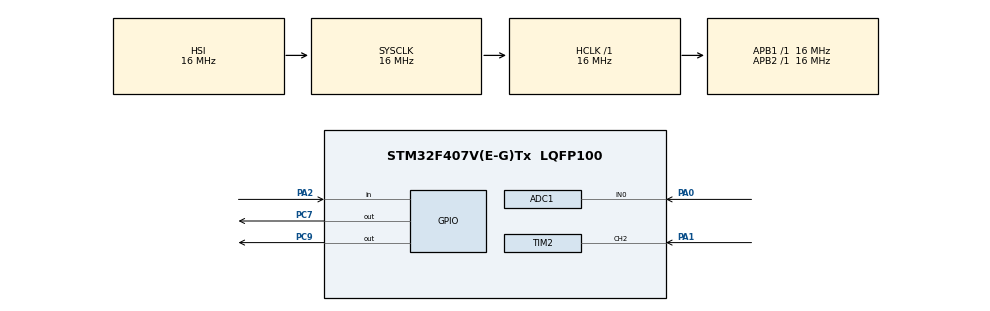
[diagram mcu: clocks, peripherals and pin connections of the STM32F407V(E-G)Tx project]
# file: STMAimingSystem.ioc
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ADC1.Channel-4\#ChannelRegularConversion=ADC_CHANNEL_0
ADC1.NbrOfConversionFlag=1
ADC1.Rank-4\#ChannelRegularConversion=1
ADC1.SamplingTime-4\#ChannelRegularConversion=ADC_SAMPLETIME_3CYCLES
ADC1.master=1
Mcu.Family=STM32F4
Mcu.Name=STM32F407V(E-G)Tx
Mcu.Package=LQFP100
NVIC.PriorityGroup=NVIC_PRIORITYGROUP_4
PA0-WKUP.Signal=ADCx_IN0
PA1.Signal=S_TIM2_CH2
PA2.Signal=GPIO_Input
PC7.Signal=GPIO_Output
PC9.Signal=GPIO_Output
ProjectManager.HeapSize=0x200
ProjectManager.StackSize=0x400
ProjectManager.TargetToolchain=STM32CubeIDE
RCC.AHBFreq_Value=16000000
RCC.APB1Freq_Value=16000000
RCC.APB2Freq_Value=16000000
RCC.CortexFreq_Value=16000000
RCC.HSE_VALUE=25000000
RCC.HSI_VALUE=16000000
RCC.LSE_VALUE=32768
RCC.SYSCLKFreq_VALUE=16000000
RCC.VCOOutputFreq_Value=192000000
SH.ADCx_IN0.0=ADC1_IN0,IN0
SH.S_TIM2_CH2.0=TIM2_CH2,Input_Capture2_from_TI2
TIM2.Channel-Input_Capture2_from_TI2=TIM_CHANNEL_2
TIM2.Period=0xffff-1
TIM2.Prescaler=100-1
VP_TIM1_VS_ClockSourceINT.Mode=Internal
VP_TIM2_VS_ClockSourceINT.Mode=Internal
board=custom

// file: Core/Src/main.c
/* USER CODE BEGIN Header */
/**
  ******************************************************************************
  * @file           : main.c
  * @brief          : Main program body
  ******************************************************************************
  * @attention
  *
  * Copyright (c) 2024 STMicroelectronics.
  * All rights reserved.
  *
  * This software is licensed under terms that can be found in the LICENSE file
  * in the root directory of this software component.
  * If no LICENSE file comes with this software, it is provided AS-IS.
  *
  ******************************************************************************
  */
/* USER CODE END Header */
#include "main.h"

/* USER CODE BEGIN PD */
	#define SERVO_1 GPIOC
	#define SERVO1_PIN1 GPIO_PIN_7
	#define SERVO1_PIN2 GPIO_PIN_9
/* USER CODE END PD */

ADC_HandleTypeDef hadc1;

TIM_HandleTypeDef htim1;
TIM_HandleTypeDef htim2;

void SystemClock_Config(void);
static void MX_GPIO_Init(void);
static void MX_TIM2_Init(void);
static void MX_TIM1_Init(void);
static void MX_ADC1_Init(void);

/* USER CODE BEGIN 0 */
	int dir = 0;
	float Feedback_S1;
	uint32_t time;
	//Total resolution of Analog-Digital Converter
	const int ADCResolution = 4095;
	//Servomotor Range
	const int ServoRange = 360;

	void HAL_ADC_ConvCpltCallback(ADC_HandleTypeDef* hadc){
		if(hadc->Instance == ADC1){
			Feedback_S1=HAL_ADC_GetValue(&hadc1);
		}
	}

	float GetPosition(){
		return (Feedback_S1/ADCResolution)*ServoRange;
	}

	void MarchaDcha(int s){
		//
			__HAL_TIM_SET_COMPARE(&htim1, TIM_CHANNEL_1, s);
		// H Bridge control
			HAL_GPIO_WritePin(SERVO_1, SERVO1_PIN2,GPIO_PIN_SET);
			HAL_GPIO_WritePin(SERVO_1, SERVO1_PIN1,GPIO_PIN_RESET);
	}

	void MarchaIzqda(int s){
			__HAL_TIM_SET_COMPARE(&htim1, TIM_CHANNEL_1, s);
		// H Bridge control
			HAL_GPIO_WritePin(SERVO_1, SERVO1_PIN2,GPIO_PIN_RESET);
			HAL_GPIO_WritePin(SERVO_1, SERVO1_PIN1,GPIO_PIN_SET);
	}
	void Paro()
	{
		__HAL_TIM_SET_COMPARE(&htim1, TIM_CHANNEL_1, 0);
	// H Bridge control
		HAL_GPIO_WritePin(SERVO_1, SERVO1_PIN2,GPIO_PIN_RESET);
		HAL_GPIO_WritePin(SERVO_1, SERVO1_PIN1,GPIO_PIN_RESET);
	}

		//HCSR04 Code
	void delay (uint16_t time)
	{
		__HAL_TIM_SET_COUNTER(&htim2, 0);
		while (__HAL_TIM_GET_COUNTER (&htim2) < time);
	}

	uint32_t IC_Val1 = 0;
	uint32_t IC_Val2 = 0;
	uint32_t Difference = 0;
	uint8_t Is_First_Captured = 0;  // is the first value captured ?
	uint8_t Distance  = 0;

	void HAL_TIM_IC_CaptureCallback(TIM_HandleTypeDef *htim)
	{
		if (htim->Channel == HAL_TIM_ACTIVE_CHANNEL_2)  // if the interrupt source is channel1
		{
			if (Is_First_Captured==0) // if the first value is not captured
			{
				IC_Val1 = HAL_TIM_ReadCapturedValue(htim, TIM_CHANNEL_2); // read the first value
				Is_First_Captured = 1;  // set the first captured as true
				// Now change the polarity to falling edge
				__HAL_TIM_SET_CAPTUREPOLARITY(htim, TIM_CHANNEL_2, TIM_INPUTCHANNELPOLARITY_FALLING);
			}

			else if (Is_First_Captured==1)   // if the first is already captured
			{
				IC_Val2 = HAL_TIM_ReadCapturedValue(htim, TIM_CHANNEL_2);  // read second value
				__HAL_TIM_SET_COUNTER(htim, 0);  // reset the counter

				if (IC_Val2 > IC_Val1)
				{
					Difference = IC_Val2-IC_Val1;
				}

				else if (IC_Val1 > IC_Val2)
				{
					Difference = (0xffff - IC_Val1) + IC_Val2;
				}

				Distance = Difference * .034/2;
				//Distance = Difference;
				Is_First_Captured = 0; // set it back to false

				// set polarity to rising edge
				__HAL_TIM_SET_CAPTUREPOLARITY(htim, TIM_CHANNEL_2, TIM_INPUTCHANNELPOLARITY_RISING);
				__HAL_TIM_DISABLE_IT(&htim1, TIM_IT_CC1);
			}
		}
	}

	void HCSR04_Read (void)
	{
		HAL_GPIO_WritePin(GPIOA, GPIO_PIN_2, GPIO_PIN_SET); // pull the TRIG pin HIGH
		delay(10);  // wait for 10 us
		HAL_GPIO_WritePin(GPIOA, GPIO_PIN_2, GPIO_PIN_RESET);// pull the TRIG pin low

		__HAL_TIM_ENABLE_IT(&htim1, TIM_IT_CC1);
	}

/* USER CODE END 0 */

int main(void)
{

  /* MCU Configuration--------------------------------------------------------*/

  /* Reset of all peripherals, Initializes the Flash interface and the Systick. */
  HAL_Init();

  /* Configure the system clock */
  SystemClock_Config();

  /* Initialize all configured peripherals */
  MX_GPIO_Init();
  MX_TIM2_Init();
  MX_TIM1_Init();
  MX_ADC1_Init();
  /* USER CODE BEGIN 2 */
	  HAL_ADC_Start_IT(&hadc1);
	  HAL_TIM_PWM_Start(&htim1, TIM_CHANNEL_1);
  /* USER CODE END 2 */

  /* Infinite loop */
  while (1)
  {

    /* USER CODE BEGIN 3 */
	        HCSR04_Read();
	 	  	HAL_Delay(1000);
  }
  /* USER CODE END 3 */
}

void SystemClock_Config(void)
{
  RCC_OscInitTypeDef RCC_OscInitStruct = {0};
  RCC_ClkInitTypeDef RCC_ClkInitStruct = {0};

  /** Configure the main internal regulator output voltage
  */
  __HAL_RCC_PWR_CLK_ENABLE();
  __HAL_PWR_VOLTAGESCALING_CONFIG(PWR_REGULATOR_VOLTAGE_SCALE1);

  /** Initializes the RCC Oscillators according to the specified parameters
  * in the RCC_OscInitTypeDef structure.
  */
  RCC_OscInitStruct.OscillatorType = RCC_OSCILLATORTYPE_HSI;
  RCC_OscInitStruct.HSIState = RCC_HSI_ON;
  RCC_OscInitStruct.HSICalibrationValue = RCC_HSICALIBRATION_DEFAULT;
  RCC_OscInitStruct.PLL.PLLState = RCC_PLL_NONE;
  if (HAL_RCC_OscConfig(&RCC_OscInitStruct) != HAL_OK)
  {
    Error_Handler();
  }

  /** Initializes the CPU, AHB and APB buses clocks
  */
  RCC_ClkInitStruct.ClockType = RCC_CLOCKTYPE_HCLK|RCC_CLOCKTYPE_SYSCLK
                              |RCC_CLOCKTYPE_PCLK1|RCC_CLOCKTYPE_PCLK2;
  RCC_ClkInitStruct.SYSCLKSource = RCC_SYSCLKSOURCE_HSI;
  RCC_ClkInitStruct.AHBCLKDivider = RCC_SYSCLK_DIV1;
  RCC_ClkInitStruct.APB1CLKDivider = RCC_HCLK_DIV1;
  RCC_ClkInitStruct.APB2CLKDivider = RCC_HCLK_DIV1;

  if (HAL_RCC_ClockConfig(&RCC_ClkInitStruct, FLASH_LATENCY_0) != HAL_OK)
  {
    Error_Handler();
  }
}

static void MX_ADC1_Init(void)
{

  ADC_ChannelConfTypeDef sConfig = {0};

  /** Configure the global features of the ADC (Clock, Resolution, Data Alignment and number of conversion)
  */
  hadc1.Instance = ADC1;
  hadc1.Init.ClockPrescaler = ADC_CLOCK_SYNC_PCLK_DIV2;
  hadc1.Init.Resolution = ADC_RESOLUTION_12B;
  hadc1.Init.ScanConvMode = DISABLE;
  hadc1.Init.ContinuousConvMode = DISABLE;
  hadc1.Init.DiscontinuousConvMode = DISABLE;
  hadc1.Init.ExternalTrigConvEdge = ADC_EXTERNALTRIGCONVEDGE_NONE;
  hadc1.Init.ExternalTrigConv = ADC_SOFTWARE_START;
  hadc1.Init.DataAlign = ADC_DATAALIGN_RIGHT;
  hadc1.Init.NbrOfConversion = 1;
  hadc1.Init.DMAContinuousRequests = DISABLE;
  hadc1.Init.EOCSelection = ADC_EOC_SINGLE_CONV;
  if (HAL_ADC_Init(&hadc1) != HAL_OK)
  {
    Error_Handler();
  }

  /** Configure for the selected ADC regular channel its corresponding rank in the sequencer and its sample time.
  */
  sConfig.Channel = ADC_CHANNEL_0;
  sConfig.Rank = 1;
  sConfig.SamplingTime = ADC_SAMPLETIME_3CYCLES;
  if (HAL_ADC_ConfigChannel(&hadc1, &sConfig) != HAL_OK)
  {
    Error_Handler();
  }

}

static void MX_TIM1_Init(void)
{

  TIM_ClockConfigTypeDef sClockSourceConfig = {0};
  TIM_MasterConfigTypeDef sMasterConfig = {0};

  htim1.Instance = TIM1;
  htim1.Init.Prescaler = 0;
  htim1.Init.CounterMode = TIM_COUNTERMODE_UP;
  htim1.Init.Period = 65535;
  htim1.Init.ClockDivision = TIM_CLOCKDIVISION_DIV1;
  htim1.Init.RepetitionCounter = 0;
  htim1.Init.AutoReloadPreload = TIM_AUTORELOAD_PRELOAD_DISABLE;
  if (HAL_TIM_Base_Init(&htim1) != HAL_OK)
  {
    Error_Handler();
  }
  sClockSourceConfig.ClockSource = TIM_CLOCKSOURCE_INTERNAL;
  if (HAL_TIM_ConfigClockSource(&htim1, &sClockSourceConfig) != HAL_OK)
  {
    Error_Handler();
  }
  sMasterConfig.MasterOutputTrigger = TIM_TRGO_RESET;
  sMasterConfig.MasterSlaveMode = TIM_MASTERSLAVEMODE_DISABLE;
  if (HAL_TIMEx_MasterConfigSynchronization(&htim1, &sMasterConfig) != HAL_OK)
  {
    Error_Handler();
  }

}

static void MX_TIM2_Init(void)
{

  TIM_ClockConfigTypeDef sClockSourceConfig = {0};
  TIM_MasterConfigTypeDef sMasterConfig = {0};
  TIM_IC_InitTypeDef sConfigIC = {0};

  htim2.Instance = TIM2;
  htim2.Init.Prescaler = 100-1;
  htim2.Init.CounterMode = TIM_COUNTERMODE_UP;
  htim2.Init.Period = 0xffff-1;
  htim2.Init.ClockDivision = TIM_CLOCKDIVISION_DIV1;
  htim2.Init.AutoReloadPreload = TIM_AUTORELOAD_PRELOAD_DISABLE;
  if (HAL_TIM_Base_Init(&htim2) != HAL_OK)
  {
    Error_Handler();
  }
  sClockSourceConfig.ClockSource = TIM_CLOCKSOURCE_INTERNAL;
  if (HAL_TIM_ConfigClockSource(&htim2, &sClockSourceConfig) != HAL_OK)
  {
    Error_Handler();
  }
  if (HAL_TIM_IC_Init(&htim2) != HAL_OK)
  {
    Error_Handler();
  }
  sMasterConfig.MasterOutputTrigger = TIM_TRGO_RESET;
  sMasterConfig.MasterSlaveMode = TIM_MASTERSLAVEMODE_DISABLE;
  if (HAL_TIMEx_MasterConfigSynchronization(&htim2, &sMasterConfig) != HAL_OK)
  {
    Error_Handler();
  }
  sConfigIC.ICPolarity = TIM_INPUTCHANNELPOLARITY_RISING;
  sConfigIC.ICSelection = TIM_ICSELECTION_DIRECTTI;
  sConfigIC.ICPrescaler = TIM_ICPSC_DIV1;
  sConfigIC.ICFilter = 0;
  if (HAL_TIM_IC_ConfigChannel(&htim2, &sConfigIC, TIM_CHANNEL_2) != HAL_OK)
  {
    Error_Handler();
  }

}

static void MX_GPIO_Init(void)
{
  GPIO_InitTypeDef GPIO_InitStruct = {0};

  /* GPIO Ports Clock Enable */
  __HAL_RCC_GPIOA_CLK_ENABLE();
  __HAL_RCC_GPIOC_CLK_ENABLE();

  /*Configure GPIO pin Output Level */
  HAL_GPIO_WritePin(GPIOC, GPIO_PIN_7|GPIO_PIN_9, GPIO_PIN_RESET);

  /*Configure GPIO pin : PA2 */
  GPIO_InitStruct.Pin = GPIO_PIN_2;
  GPIO_InitStruct.Mode = GPIO_MODE_INPUT;
  GPIO_InitStruct.Pull = GPIO_NOPULL;
  HAL_GPIO_Init(GPIOA, &GPIO_InitStruct);

  /*Configure GPIO pins : PC7 PC9 */
  GPIO_InitStruct.Pin = GPIO_PIN_7|GPIO_PIN_9;
  GPIO_InitStruct.Mode = GPIO_MODE_OUTPUT_PP;
  GPIO_InitStruct.Pull = GPIO_NOPULL;
  GPIO_InitStruct.Speed = GPIO_SPEED_FREQ_LOW;
  HAL_GPIO_Init(GPIOC, &GPIO_InitStruct);

}

void Error_Handler(void)
{
  __disable_irq();
  while (1)
  {
  }
}
